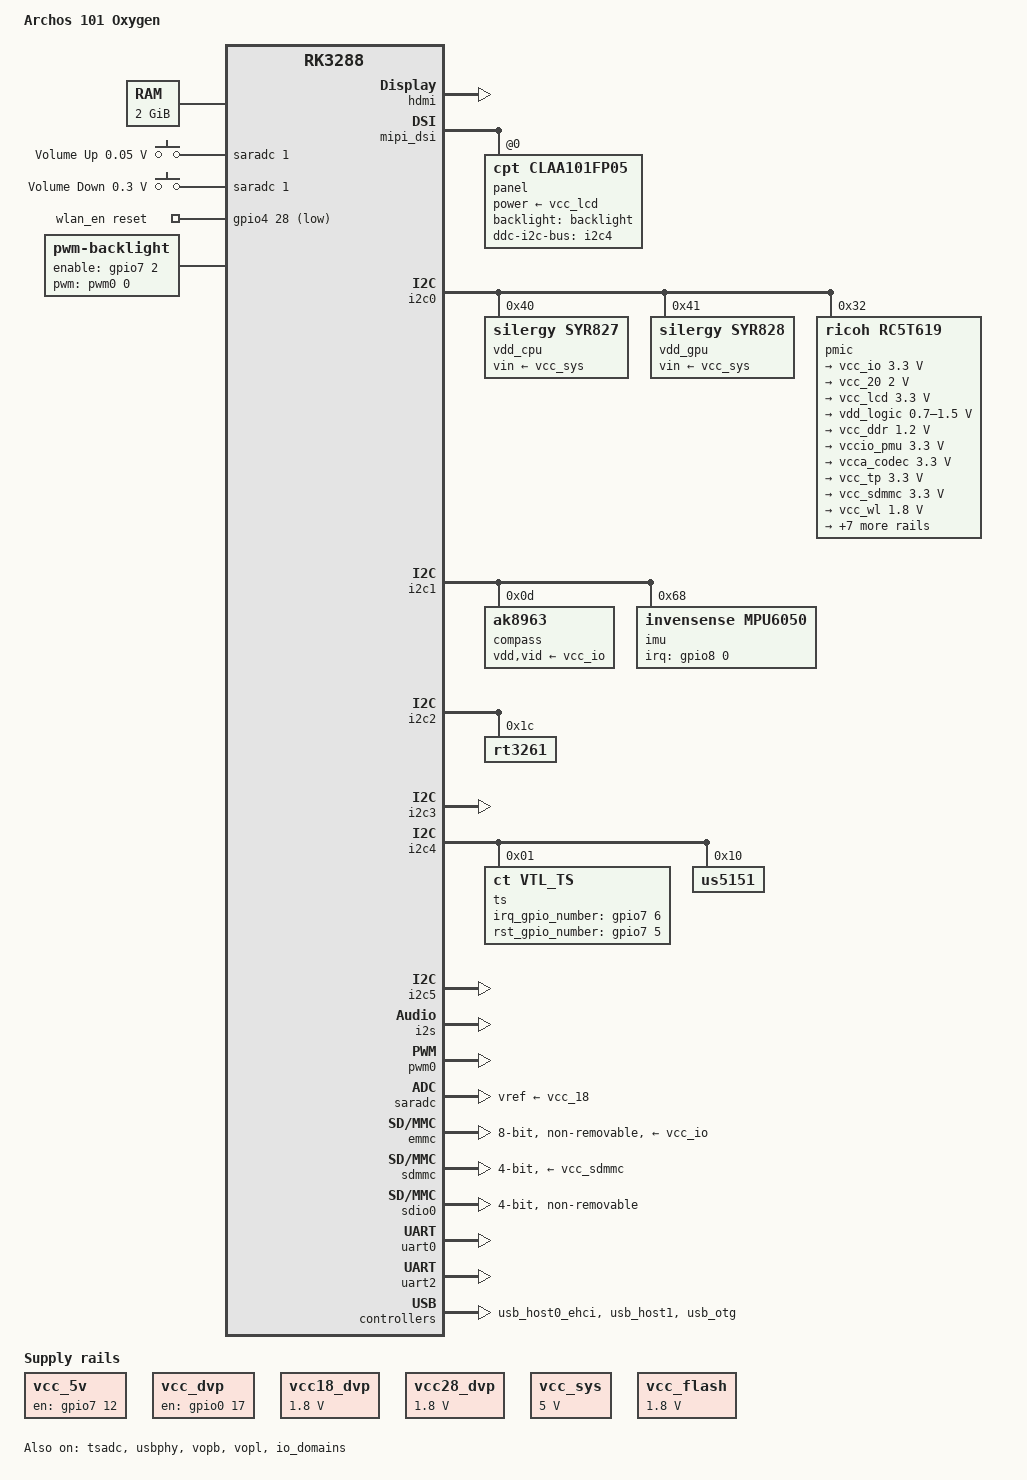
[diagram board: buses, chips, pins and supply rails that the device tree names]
/*
 * Copyright (c) 2016 Pierre-Hugues Husson <phh@archos.com>
 *
 * This file is dual-licensed: you can use it either under the terms
 * of the GPL or the X11 license, at your option. Note that this dual
 * licensing only applies to this file, and not this project as a
 * whole.
 *
 *  a) This file is free software; you can redistribute it and/or
 *     modify it under the terms of the GNU General Public License as
 *     published by the Free Software Foundation; either version 2 of the
 *     License, or (at your option) any later version.
 *
 *     This file is distributed in the hope that it will be useful,
 *     but WITHOUT ANY WARRANTY; without even the implied warranty of
 *     MERCHANTABILITY or FITNESS FOR A PARTICULAR PURPOSE.  See the
 *     GNU General Public License for more details.
 */

/dts-v1/;
#include <dt-bindings/input/input.h>
#include <dt-bindings/pwm/pwm.h>
#include "rk3288.dtsi"

/ {
	model = "Archos 101 Oxygen";
	compatible = "archos,ac101ox", "rockchip,rk3288";

	memory {
		device_type = "memory";
		reg = <0x0 0x80000000>;
	};

	adc-keys {
		compatible = "adc-keys";
		io-channels = <&saradc 1>;
		io-channel-names = "buttons";
		keyup-threshold-microvolt = <2000000>;
		poll-interval = <40>;
		autorepeat;

		button@50 {
			label = "Volume Up";
			linux,code = <KEY_VOLUMEUP>;
			press-threshold-microvolt = <50000>;
		};

		button@300 {
			label = "Volume Down";
			linux,code = <KEY_VOLUMEDOWN>;
			press-threshold-microvolt = <300000>;
		};
	};

	//This is used both for USB Host port and for HDMI DDC pull-up
	vcc_5v: vcc-5v-regulator {
		compatible = "regulator-fixed";
		enable-active-high;
		gpio = <&gpio7 12 GPIO_ACTIVE_HIGH>;
		pinctrl-names = "default";
		pinctrl-0 = <&vcc50_drv>;
		regulator-name = "vcc_5v";

                /* Always on as the rockchip usb phy doesn't have a vbus-supply
                 * property
                 */
		regulator-always-on;
	};

	vcc_dvp: vcc-dvp {
		compatible = "regulator-fixed";
		enable-active-high;
		gpio = <&gpio0 17 GPIO_ACTIVE_HIGH>;
		pinctrl-names = "default";
		pinctrl-0 = <&vcc_dvp_drv>;
		regulator-name = "vcc_dvp";
	};

	vcc18_dvp: vcc-18-dvp {
		compatible = "regulator-fixed";
		enable-active-high;
		regulator-name = "vcc18_dvp";
		regulator-min-microvolt = <1800000>;
		regulator-max-microvolt = <1800000>;
		vin = <&vcc_dvp>;
	};

	vcc28_dvp: vcc-28-dvp {
		compatible = "regulator-fixed";
		enable-active-high;
		regulator-name = "vcc28_dvp";
		regulator-min-microvolt = <1800000>;
		regulator-max-microvolt = <1800000>;
		vin = <&vcc_dvp>;
	};

	vcc_sys: sys-regulator {
		compatible = "regulator-fixed";
		regulator-name = "sys-supply";
		regulator-min-microvolt = <5000000>;
		regulator-max-microvolt = <5000000>;
		regulator-always-on;
		regulator-boot-on;
	};

	wlan_en: wlan_en {
		compatible = "mmc-pwrseq-simple";
		pinctrl-names = "default";
		pinctrl-0 = <&wlan_en_ctrl>;
		reset-gpios = <&gpio4 28 GPIO_ACTIVE_LOW>;
		post-power-on-delay-ms = <100>;
	};

	sound {
		compatible = "simple-audio-card";
		simple-audio-card,format = "i2s";
		simple-audio-card,name = "rockchip,ac101ox-codec";
		simple-audio-card,mclk-fs = <512>;
		simple-audio-card,cpu {
			sound-dai = <&i2s>;
		};
		simple-audio-card,codec {
			sound-dai = <&hdmi>;
		};
	};

	bluetooth {
		compatible = "bluetooth-platdata";

       //uart_rts_gpios = <&gpio4 GPIO_C3 GPIO_ACTIVE_LOW>;
        //pinctrl-names = "default","rts_gpio";
        //pinctrl-0 = <&uart0_rts>;
        //pinctrl-1 = <&uart0_rts_gpio>;

        ////BT,power_gpio = <&gpio4 GPIO_D3 GPIO_ACTIVE_HIGH>;
        //BT,reset_gpio = <&gpio4 GPIO_D5 GPIO_ACTIVE_HIGH>;
        //BT,wake_gpio = <&gpio4 GPIO_D2 GPIO_ACTIVE_HIGH>;
        //BT,wake_host_irq = <&gpio4 GPIO_D7 GPIO_ACTIVE_HIGH>;
	};

	backlight: backlight {
		compatible = "pwm-backlight";
		pwms = <&pwm0 0 5000000 0>;
		pinctrl-names = "default";
		pinctrl-0 = <&bl_en>;
		brightness-levels = <0 1 2 3 4 5 6 7 8 9 10 11 12 13 14 15 16 17 18 19 20 21 22 23 24 25 26 27 28 29 30 31 32 33 34 35 36 37 38 39 40 41 42 43 44 45 46 47 48 49 50 51 52 53 54 55 56 57 58 59 60 61 62 63 64 65 66 67 68 69 70 71 72 73 74 75 76 77 78 79 80 81 82 83 84 85 86 87 88 89 90 91 92 93 94 95 96 97 98 99 100 101 102 103 104 105 106 107 108 109 110 111 112 113 114 115 116 117 118 119 120 121 122 123 124 125 126 127 128 129 130 131 132 133 134 135 136 137 138 139 140 141 142 143 144 145 146 147 148 149 150 151 152 153 154 155 156 157 158 159 160 161 162 163 164 165 166 167 168 169 170 171 172 173 174 175 176 177 178 179 180 181 182 183 184 185 186 187 188 189 190 191 192 193 194 195 196 197 198 199 200 201 202 203 204 205 206 207 208 209 210 211 212 213 214 215 216 217 218 219 220 221 222 223 224 225 226 227 228 229 230 231 232 233 234 235 236 237 238 239 240 241 242 243 244 245 246 247 248 249 250 251 252 253 254 255>;
		default-brightness-level = <200>;
		min-brightness-level = <80>;
		enable-gpios = <&gpio7 2 GPIO_ACTIVE_HIGH>;
	};

	//This regulator can't be controled in software
	//It is enabled by vcc_io and powered by vcc_sys
	vcc_flash: vcc_flash {
		compatible = "regulator-fixed";
		regulator-name = "vcc_flash";
		regulator-boot-on;
		regulator-min-microvolt = <1800000>;
		regulator-max-microvolt = <1800000>;
		regulator-always-on;
	};
};

&cpu0 {
	cpu0-supply = <&vdd_cpu>;
};

//Primary is screen is lcdc1 == vopl
//Secondary is hdmi is lcdc0 == vopb
&hdmi {
	#address-cells = <1>;
	#size-cells = <0>;
	#sound-dai-cells = <0>;

	ddc-i2c-bus = <&i2c5>;
	status = "okay";
};

&mipi_dsi {
	status = "okay";
	ddc-i2c-bus = <&i2c4>;

	panel: panel {
		compatible = "cpt,claa101fp05", "simple-panel";
		reg = <0>;
		status = "okay";

		power-supply = <&vcc_lcd>;
		backlight = <&backlight>;
		ddc-i2c-bus = <&i2c4>;
	};
};

&i2c0 {
	status = "okay";

	vdd_cpu: pmic@40 {
		compatible = "silergy,syr827";
		reg = <0x40>;
		fcs,suspend-voltage-selector = <1>;
		regulator-name = "VDD_CPU";
		regulator-enable-ramp-delay = <300>;
		regulator-min-microvolt = <850000>;
		regulator-max-microvolt = <1350000>;
		regulator-ramp-delay = <8000>;
		regulator-always-on;
		regulator-boot-on;
		vin-supply = <&vcc_sys>;
	};

	vdd_gpu: pmic@41 {
		compatible = "silergy,syr828";
		reg = <0x41>;
		fcs,suspend-voltage-selector = <1>;
		regulator-name = "VDD_GPU";
		regulator-enable-ramp-delay = <300>;
		regulator-min-microvolt = <850000>;
		regulator-max-microvolt = <1350000>;
		regulator-ramp-delay = <8000>;
		regulator-always-on;
		regulator-boot-on;
		vin-supply = <&vcc_sys>;
	};

	pmic@32 {
		//compatible = "ricoh,ricoh619";
		compatible = "ricoh,rc5t619";
		reg = <0x32>;
		status = "okay";
		interrupt-controller;
		#interrupt-cells = <0>;
		
		pwrkey: pwrkey@0 {
			compatible = "ricoh,ricoh619-pwrkey";
			ricoh,pwrkey-delay-ms = <20>;		
		};

		rtc {
			compatible = "ricoh,ricoh619-rtc";
			ricoh,rtc-tm-year = <2014>;
			ricoh,rtc-tm-month = <1>;
			ricoh,rtc-tm-mday = <1>;
			ricoh,rtc-tm-hour = <8>;
			ricoh,rtc-tm-min = <0>;
			ricoh,rtc-tm-sec = <0>;
		};

		battery {
			compatible = "ricoh,ricoh619-battery";
			ricoh,alarm-vol-mv = <3300>;
			ricoh,multiple = <100>;
			ricoh,monitor-time = <60>;

			ricoh,ch-vfchg = <0x04>;/* VFCHG	= 0 - 4 (4.05v, 4.10v, 4.15v, 4.20v, 4.35v) */
			ricoh,ch-vrchg = <0x04>;/* VRCHG	= 0 - 4 (3.85v, 3.90v, 3.95v, 4.00v, 4.10v) */
			ricoh,ch-vbatovset = <0x01>;/* VBATOVSET	= 0 or 1 (0 : 4.38v(up)/3.95v(down) 1: 4.53v(up)/4.10v(down)) */
			ricoh,ch-ichg = <0xff>;/* ICHG		= 0 - 0x1D (100mA - 3000mA) */
			ricoh,ch-ilim-adp = <0xff>;/* ILIM_ADP	= 0 - 0x1D (100mA - 3000mA) */
			ricoh,ch-ilim-usb = <0xff>;/* ILIM_USB	= 0 - 0x1D (100mA - 3000mA) */
			ricoh,ch-icchg = <0x01>;/* ICCHG	= 0 - 3 (50mA 100mA 150mA 200mA) */
			ricoh,fg-target-vsys = <3300>;/* This value is the target one to DSOC=0% */
			ricoh,fg-target-ibat = <1000>;/* This value is the target one to DSOC=0% */
			ricoh,fg-poff-vbat = <3450>;/* setting value of 0 per Vbat */
			ricoh,jt-en = <0>;/* JEITA Enable	  = 0 or 1 (1:enable, 0:disable) */
			ricoh,jt-hw-sw = <1>;/* JEITA HW or SW = 0 or 1 (1:HardWare, 0:SoftWare) */
			ricoh,jt-temp-h = <50>;/* degree C */
			ricoh,jt-temp-l = <12>;/* degree C */
			ricoh,jt-vfchg-h = <0x03>;/* VFCHG High  	= 0 - 4 (4.05v, 4.10v, 4.15v, 4.20v, 4.35v) */
			ricoh,jt-vfchg-l = <0>;/* VFCHG High  	= 0 - 4 (4.05v, 4.10v, 4.15v, 4.20v, 4.35v) */
			ricoh,jt-ichg-h = <0x0D>;/* VFCHG Low  	= 0 - 4 (4.05v, 4.10v, 4.15v, 4.20v, 4.35v) */
			ricoh,jt-ichg-l = <0x09>;/* ICHG Low   	= 0 - 0x1D (100mA - 3000mA) */
		};

		regulators {
			#address-cells = <1>;
			#size-cells = <0>;	
			
			vcc_io: DCDC1 {
				regulator-always-on;
				regulator-boot-on;
				regulator-name = "vccio";
				regulator-min-microvolt = <3300000>;
				regulator-max-microvolt = <3300000>;
				regulator-inital-mode = <2>;
				regulator-inital-state = <3>;
				regulator-state-mem {
					regulator-state-mode = <2>;
					regulator-state-enabled;
					regulator-state-uv = <3300000>;
				};
			};
			vcc_20: DCDC2 {
				regulator-always-on;
				regulator-boot-on;
				regulator-name = "vcc_20";
				regulator-min-microvolt = <2000000>;
				regulator-max-microvolt = <2000000>;
				regulator-inital-mode = <2>;
				regulator-inital-state = <3>;
				regulator-state-mem {
					regulator-state-mode = <2>;
					regulator-state-enabled;
					regulator-state-uv = <2000000>;
				};
			};
			vcc_lcd: DCDC3 {
				regulator-always-on;
				regulator-boot-on;
				regulator-name = "vcc_lcd";
				regulator-min-microvolt = <3300000>;
				regulator-max-microvolt = <3300000>;
				regulator-initial-mode = <0x2>;
				regulator-initial-state = <3>;
				regulator-state-mem {
					regulator-state-mode = <0x2>;
					regulator-state-disabled;
					regulator-state-uv = <3300000>;
				};
			};
			vdd_logic: DCDC4 {
				regulator-always-on;
				regulator-boot-on;
				regulator-name = "vdd_logic";
				regulator-min-microvolt = <700000>;
				regulator-max-microvolt = <1500000>;
				regulator-initial-mode = <0x2>;
				regulator-initial-state = <3>;
				regulator-state-mem {
					regulator-state-mode = <0x2>;
					regulator-state-enabled;
					regulator-state-uv = <900000>;
				};
			};
			vcc_ddr: DCDC5 {
				regulator-always-on;
				regulator-boot-on;
				regulator-name = "vcc_ddr";
				regulator-min-microvolt = <1200000>;
				regulator-max-microvolt = <1200000>;
				regulator-initial-mode = <0x2>;
				regulator-initial-state = <3>;
				regulator-state-mem {
					regulator-state-mode = <0x2>;
					regulator-state-enabled;
					regulator-state-uv = <1200000>;
				};
			};
			vccio_pmu: LDO1  {
				regulator-always-on;
				regulator-boot-on;
				regulator-name = "vccio_pmu";
				regulator-min-microvolt = <3300000>;
				regulator-max-microvolt = <3300000>;
				regulator-initial-state = <3>;
				regulator-state-mem {
					regulator-state-enabled;
					regulator-state-uv = <3300000>;
				};
			};
			vcca_codec: LDO2  {
				regulator-always-on;
				regulator-boot-on;
				regulator-name = "vcca_codec";
				regulator-min-microvolt = <3300000>;
				regulator-max-microvolt = <3300000>;
				regulator-initial-state = <3>;
				regulator-state-mem {
					regulator-state-enabled;
					regulator-state-uv = <3300000>;
				};
			};
			vcc_tp: LDO3  {
				reg = <7>;
				regulator-always-on;
				regulator-boot-on;
				regulator-name = "vcc_tp"; //TODO
				regulator-min-microvolt = <3300000>;
				regulator-max-microvolt = <3300000>;
				regulator-initial-state = <3>;
				regulator-state-mem {
					regulator-state-enabled;
					regulator-state-uv = <3300000>;
				};
			};
			vcc_sdmmc: LDO4 {
				regulator-always-on;
				regulator-boot-on;
				regulator-name = "vcc_sd";
				regulator-min-microvolt = <3300000>;
				regulator-max-microvolt = <3300000>;
				regulator-initial-state = <3>;
				regulator-state-mem {
					regulator-state-enabled;
					regulator-state-uv = <3300000>;
				};
			};
			vcc_wl: LDO5  {
				regulator-always-on;
				regulator-boot-on;
				regulator-name = "vcc_wl";
				regulator-min-microvolt = <1800000>;
				regulator-max-microvolt = <1800000>;
				regulator-initial-state = <3>;
				regulator-state-mem {
					regulator-state-enabled;
					regulator-state-uv = <1800000>;
				};
			};
			vcc18_lcd: LDO6  {
				regulator-always-on;
				regulator-boot-on;
				regulator-name = "vcc18_lcd";
				regulator-min-microvolt = <1800000>;
				regulator-max-microvolt = <1800000>;
				regulator-initial-state = <3>;
				regulator-state-mem {
					regulator-state-disabled;
					regulator-state-uv = <1800000>;
				};
			};
			vdd10_lcd: LDO7  {
				regulator-always-on;
				regulator-boot-on;
				regulator-name = "vdd10_lcd";
				regulator-min-microvolt = <1000000>;
				regulator-max-microvolt = <1000000>;
				regulator-initial-state = <3>;
				regulator-state-mem {
					regulator-state-disabled;
					regulator-state-uv = <1000000>;
				};
			};
			vccio_sd: LDO8 {
				regulator-always-on;
				regulator-boot-on;
				regulator-name = "vccio_sd";
				regulator-min-microvolt = <3300000>;
				regulator-max-microvolt = <3300000>;
				regulator-initial-state = <3>;
				regulator-state-mem {
					regulator-state-enabled;
					regulator-state-uv = <3300000>;
				};
			};
			vdd_10: LDO9 {
				regulator-always-on;
				regulator-boot-on;
				regulator-name = "vdd_10";
				regulator-min-microvolt = <1000000>;
				regulator-max-microvolt = <1000000>;
				regulator-initial-state = <3>;
				regulator-state-mem {
					regulator-state-enabled;
					regulator-state-uv = <1000000>;
				};
			};
			vcc_18: LDO10  {
				regulator-always-on;
				regulator-boot-on;
				regulator-name = "vcc_18";
				regulator-min-microvolt = <1800000>;
				regulator-max-microvolt = <1800000>;
				regulator-initial-state = <3>;
				regulator-state-mem {
					regulator-state-enabled;
					regulator-state-uv = <1800000>;
				};
			};
			vcc_rtc: LDORTC1 {
				regulator-always-on;
				regulator-boot-on;
				regulator-name = "vcc_rtc";
				regulator-min-microvolt = < 3300000>;
				regulator-max-microvolt = <3300000>;
			};
			//This seem useless
			ricoh619_ldortc2_reg: LDORTC2 {
				regulator-always-on;
				regulator-boot-on;
				regulator-name = "ricoh619_ldortc2";//todo
				regulator-min-microvolt = < 3300000>;
				regulator-max-microvolt = <3300000>;
			};
		};
	};
};

&i2c1 {
	status = "okay";
	compass@0d{
		compatible = "ak8963";
		reg = <0x0d>;
		mount-matrix =
			"1", "0", "0",
			"0", "1", "0",
			"0", "0", "1";
		status = "okay";
		vdd-supply = <&vcc_io>;
		vid-supply = <&vcc_io>;
	};

 	imu@68{
		compatible = "invensense,mpu6050";
		reg = <0x68>;
		interrupt-parent = <&gpio8>;
		interrupts = <0 IRQ_TYPE_EDGE_RISING>;
		mount-matrix =
			"1", "0", "0",
			"0", "1", "0",
			"0", "0", "1";
		status = "okay";
	};

};

&i2c2 {
	status = "okay";
	rt3261: rt3261@1c {
		compatible = "rt3261";
		reg = <0x1c>;
	//	codec-en-gpio = <0>;//sdk default high level
		spk-num= <2>;
		modem-input-mode = <1>;
		lout-to-modem_mode = <1>;
		spk-amplify = <2>;
		playback-if1-data_control = <0>;
		playback-if2-data_control = <0>;
	};
};

&i2c3 {
	status = "okay";
};

&i2c4 {
	status = "okay";
	ts@01 {
		compatible = "ct,vtl_ts";
		reg = <0x01>;
		screen_max_x = <1920>;
		screen_max_y = <1200>;
		irq_gpio_number = <&gpio7 6 IRQ_TYPE_LEVEL_LOW>;
		rst_gpio_number = <&gpio7 5 GPIO_ACTIVE_HIGH>;
	};

        us5151: us5151@10 {
                compatible = "us5151";
                reg = <0x10>;
                //type = <SENSOR_TYPE_LIGHT>;
                //irq_enable = <0>;
                //poll_delay_ms = <30>;
                //layout = <1>;
        };
};

//HDMI
&i2c5 {
	status = "okay";
};

&i2s {
	#sound-dai-cells = <0>;
	status = "okay";
};

&pinctrl {
	backlight {
		bl_en: bl-en {
			rockchip,pins = <7 2 RK_FUNC_GPIO &pcfg_pull_none>;
		};
	};

	pcfg_output_high: pcfg-output-high {
		output-high;
	};

	pcfg_output_low: pcfg-output-low {
		output-low;
	};

	pmic {
		pmic_int: pmic-int {
			rockchip,pins = <RK_GPIO0 4 RK_FUNC_GPIO &pcfg_pull_up>;
		};
	};

	vcc50 {
		vcc50_drv: vcc50_drv {
			rockchip,pins = <7 12 RK_FUNC_GPIO &pcfg_pull_none>;
		};
	};

	vcc_dvp {
		vcc_dvp_drv: vcc_dvp {
			rockchip,pins = <0 17 RK_FUNC_GPIO &pcfg_pull_none>;
		};
	};

	wlan_en {
		wlan_en_ctrl: wlan-en-ctrl {
			rockchip,pins = <4 28 RK_FUNC_GPIO &pcfg_pull_none>;
		};
	};

	bt_en {
		bt_en_ctrl: bt-en-ctrl {
			rockchip,pins = <4 29 RK_FUNC_GPIO &pcfg_pull_none>;
		};
	};
};

&pwm0 {
	status = "okay";
	rockchip,grf = <&grf>;
};

&pwm1 {
	status = "disabled";
};

&saradc {
	vref-supply = <&vcc_18>;
	status = "okay";
};

&emmc {
	bus-width = <8>;
	cap-mmc-highspeed;
	disable-wp;
	non-removable;
	num-slots = <1>;
	pinctrl-names = "default";
	pinctrl-0 = <&emmc_clk &emmc_cmd &emmc_pwr &emmc_bus8>;
	vmmc-supply = <&vcc_io>;
	vqmmc-supply = <&vcc_flash>;
	status = "okay";
};

&sdmmc {
	bus-width = <4>;
	cap-mmc-highspeed;
	cap-sd-highspeed;
	card-detect-delay = <200>;
	disable-wp;
	num-slots = <1>;
	pinctrl-names = "default";
	pinctrl-0 = <&sdmmc_clk &sdmmc_cmd &sdmmc_cd &sdmmc_bus4>;
	//cd-gpio?
	vmmc-supply = <&vcc_sdmmc>; //&ricoh619_ldo4_reg
	//vqmmc-supply = <&vcc_iosd>;
	status = "okay";
};

&sdio0 {
	bus-width = <4>;
	disable-wp;
	non-removable;
	num-slots = <1>;
	pinctrl-names = "default";
	pinctrl-0 = <&sdio0_bus4>, <&sdio0_cmd>, <&sdio0_clk>;
	status = "okay";

	//vmmc-supply = <&vcc_wl>;
	//vqmmc-supply = <&vcc_wl>;
	mmc-pwrseq = <&wlan_en>;

};

&uart0 {
	status = "okay";
	pinctrl-names = "default";
	pinctrl-0 = <&uart0_xfer &uart0_cts &uart0_rts>;
};

&uart2 {
	status = "okay";
};

&tsadc {
	rockchip,hw-tshut-mode = <0>;
	rockchip,hw-tshut-polarity = <0>;
	status = "okay";
};

&usb_host0_ehci {
	status = "okay";
};

&usb_host1 {
	status = "okay";
};

&usb_otg {
	status = "okay";
};

&usbphy {
	status = "okay";
};

&vopb {
	status = "okay";
};

&vopb_mmu {
	status = "okay";
};

&vopl {
	status = "okay";
};

&vopl_mmu {
	status = "okay";
};

&wdt {
	status = "disabled";
};

&io_domains {
	status = "okay";

	audio-supply = <&vcc_18>;
	bb-supply = <&vcc_18>;
	dvp-supply = <&vcc18_dvp>;
	flash0-supply = <&vcc_flash>;
	flash1-supply = <&vcc_flash>;
	gpio30-supply = <&vccio_pmu>;
	gpio1830-supply = <&vcc_io>;
	lcdc-supply = <&vcc_lcd>;
	sdcard-supply = <&vccio_sd>;
	wifi-supply = <&vcc_wl>;
};
